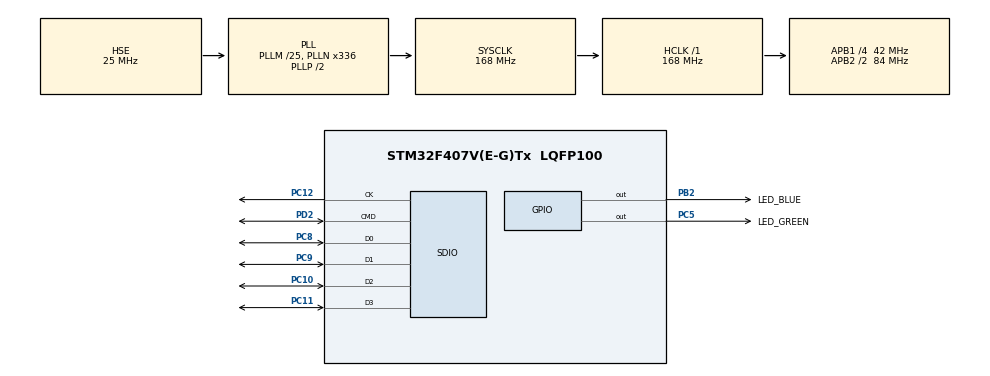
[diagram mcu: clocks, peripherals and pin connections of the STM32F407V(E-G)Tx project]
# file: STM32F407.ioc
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Dma.Request0=SDIO_RX
Dma.Request1=SDIO_TX
Dma.SDIO_RX.0.Direction=DMA_PERIPH_TO_MEMORY
Dma.SDIO_RX.0.FIFOMode=DMA_FIFOMODE_ENABLE
Dma.SDIO_RX.0.FIFOThreshold=DMA_FIFO_THRESHOLD_FULL
Dma.SDIO_RX.0.Instance=DMA2_Stream3
Dma.SDIO_RX.0.MemBurst=DMA_MBURST_INC4
Dma.SDIO_RX.0.MemDataAlignment=DMA_MDATAALIGN_WORD
Dma.SDIO_RX.0.MemInc=DMA_MINC_ENABLE
Dma.SDIO_RX.0.Mode=DMA_PFCTRL
Dma.SDIO_RX.0.PeriphBurst=DMA_PBURST_INC4
Dma.SDIO_RX.0.PeriphDataAlignment=DMA_PDATAALIGN_WORD
Dma.SDIO_RX.0.PeriphInc=DMA_PINC_DISABLE
Dma.SDIO_RX.0.Priority=DMA_PRIORITY_LOW
Dma.SDIO_TX.1.Direction=DMA_MEMORY_TO_PERIPH
Dma.SDIO_TX.1.FIFOMode=DMA_FIFOMODE_ENABLE
Dma.SDIO_TX.1.FIFOThreshold=DMA_FIFO_THRESHOLD_FULL
Dma.SDIO_TX.1.Instance=DMA2_Stream6
Dma.SDIO_TX.1.MemBurst=DMA_MBURST_INC4
Dma.SDIO_TX.1.MemDataAlignment=DMA_MDATAALIGN_WORD
Dma.SDIO_TX.1.MemInc=DMA_MINC_ENABLE
Dma.SDIO_TX.1.Mode=DMA_PFCTRL
Dma.SDIO_TX.1.PeriphBurst=DMA_PBURST_INC4
Dma.SDIO_TX.1.PeriphDataAlignment=DMA_PDATAALIGN_WORD
Dma.SDIO_TX.1.PeriphInc=DMA_PINC_DISABLE
Dma.SDIO_TX.1.Priority=DMA_PRIORITY_LOW
Mcu.Family=STM32F4
Mcu.Name=STM32F407V(E-G)Tx
Mcu.Package=LQFP100
NVIC.DMA2_Stream3_IRQn=true\:2\:0\:true\:false\:true\:false\:true\:true
NVIC.DMA2_Stream6_IRQn=true\:2\:0\:true\:false\:true\:false\:true\:true
NVIC.PriorityGroup=NVIC_PRIORITYGROUP_4
NVIC.SDIO_IRQn=true\:1\:0\:true\:false\:true\:true\:true\:true
PA13.Mode=Serial_Wire
PA13.Signal=SYS_JTMS-SWDIO
PA14.Mode=Serial_Wire
PA14.Signal=SYS_JTCK-SWCLK
PB2.GPIO_Label=LED_BLUE
PB2.Signal=GPIO_Output
PC10.Mode=SD_4_bits_Wide_bus
PC10.Signal=SDIO_D2
PC11.Mode=SD_4_bits_Wide_bus
PC11.Signal=SDIO_D3
PC12.Mode=SD_4_bits_Wide_bus
PC12.Signal=SDIO_CK
PC5.GPIO_Label=LED_GREEN
PC5.Signal=GPIO_Output
PC8.Mode=SD_4_bits_Wide_bus
PC8.Signal=SDIO_D0
PC9.Mode=SD_4_bits_Wide_bus
PC9.Signal=SDIO_D1
PD2.Mode=SD_4_bits_Wide_bus
PD2.Signal=SDIO_CMD
PH0-OSC_IN.Mode=HSE-External-Oscillator
PH0-OSC_IN.Signal=RCC_OSC_IN
PH1-OSC_OUT.Mode=HSE-External-Oscillator
PH1-OSC_OUT.Signal=RCC_OSC_OUT
ProjectManager.HeapSize=0x200
ProjectManager.StackSize=0x1000
ProjectManager.TargetToolchain=MDK-ARM V5.32
RCC.48MHZClocksFreq_Value=48000000
RCC.AHBFreq_Value=168000000
RCC.APB1CLKDivider=RCC_HCLK_DIV4
RCC.APB1Freq_Value=42000000
RCC.APB1TimFreq_Value=84000000
RCC.APB2CLKDivider=RCC_HCLK_DIV2
RCC.APB2Freq_Value=84000000
RCC.APB2TimFreq_Value=168000000
RCC.CortexFreq_Value=168000000
RCC.HCLKFreq_Value=168000000
RCC.HSE_VALUE=25000000
RCC.HSI_VALUE=16000000
RCC.LSE_VALUE=32768
RCC.PLLM=25
RCC.PLLN=336
RCC.PLLQ=7
RCC.PLLSourceVirtual=RCC_PLLSOURCE_HSE
RCC.SYSCLKFreq_VALUE=168000000
RCC.SYSCLKSource=RCC_SYSCLKSOURCE_PLLCLK
RCC.VCOOutputFreq_Value=336000000
SDIO.ClockDiv=2
board=custom

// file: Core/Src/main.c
/* USER CODE BEGIN Header */
/**==================================================================================================================
 ** 【代码编写】  魔女开发板团队
 ** 【淘    宝】  魔女开发板       https://demoboard.taobao.com
 **==================================================================================================================
 ** 【实验名称】   SD卡 DMA读写测试（无USB/文件系统）
 **
 ** 【适用平台】   STM32F407 + Keil5 + HAL库
 **
 ** 【功能概述】   本程序通过 DMA 方式实现对 SD 卡的基础块读写操作，验证 SDIO + DMA 数据传输性能。
 **                1. 初始化系统时钟、GPIO、SDIO、DMA 及串口
 **                2. 获取 SD 卡信息（类型、版本、容量等）并通过串口打印
 **                3. 使用 DMA 读取指定块区域的原数据，保存到缓冲区
 **                4. 使用 DMA 向指定块区域写入测试数据，并回读验证
 **                5. 擦除指定块区域，读取验证擦除效果
 **                6. 使用 DMA 恢复原数据，确保不破坏卡内原有内容
 **                7. 绿色 LED 周期性闪烁，指示系统运行状态
 **                8. 利用中断回调函数标志位同步 DMA 传输完成状态
 **
 ** 【硬件注意】   1. SD 卡消耗电流较大，建议使用独立电源或开发板主电源供电，避免使用 STLink、USB 转 TTL 等模块供电
 **                2. SDIO 通信占用 6 个引脚：PC8(CLK)、PC9(CMD)、PC10~12(D0~D3) 和 PD2(D4)，请确保这些引脚未被其他外设占用
 **                3. DMA 使用的数据流和通道需与 SDIO 外设匹配（CubeMX 自动配置）
 **
 ** 【CubeMX配置】 1. 在 Connectivity / SDIO 中选择 "SD 4 bits Wide bus"
 **                2. 在 DMA Settings 中添加 SDIO_TX 和 SDIO_RX，并选择合适的优先级
 **                3. 对于 F1 系列，需将 SDIOCLK clock divide factor 设置为 6
 **                4. 注意 CubeMX 代码生成 bug：sdio.c 中的 MX_SDIO_SD_Init() 函数中，hsd.Init.BusWide 会被设置为 SDIO_BUS_WIDE_4B，
 **                   必须手动修改为 SDIO_BUS_WIDE_1B，否则 SD 卡无法正常工作
 **
 ** 【移植说明】   1. 确保目标工程已正确配置 SDIO、DMA 及 GPIO
 **                2. 在 main.c 中包含 "bsp_UART.h" 以支持串口调试输出
 **                3. 若使用其他串口，请修改 UART1_Init() 对应的波特率和引脚
 **                4. 注意在 DMA 传输完成回调函数中正确设置标志位（见 USER CODE BEGIN 4）
 **
 ** 【测试流程】   本程序按顺序执行以下步骤，结果通过串口输出：
 **                1. 获取卡信息（类型、版本、块数量、块大小、容量）
 **                2. DMA 读取测试块（起始块 7，长度 2 块）的原数据并打印
 **                3. DMA 写入测试数据（0x88）到测试块，并回读验证
 **                4. 擦除测试块（块 7~8），回读验证擦除后数据为 0x00
 **                5. DMA 将原数据写回测试块，回读验证恢复成功
 **
 ** 【DMA标志】    程序使用两个 volatile 标志变量：
 **                myFlagSDReadReady  — 读取传输完成标志，在 HAL_SD_RxCpltCallback 中置 1
 **                myFlagSDWriteReady — 写入传输完成标志，在 HAL_SD_TxCpltCallback 中置 1
 **                在主循环中通过 while 等待标志置位，确保传输完成后再进行下一步。
 **                使用 volatile 修饰可避免编译器优化导致标志检测失效。
 **
 ** 【调试建议】   1. 测试前请备份 SD 卡重要数据，程序会修改块 7 和块 8 的内容
 **                2. 若通信失败，检查 SDIO 引脚连接及供电是否充足
 **                3. 使用串口助手观察输出，确认每一步执行结果
 **                4. 注意 CubeMX 生成的 SDIO 初始化代码中的总线宽度错误，必须手动修正
 **                5. 若 DMA 传输卡死，检查中断优先级及 DMA 回调函数是否正确配置
 **
 ** 【更新记录】   2024-02-19  优化代码结构，增加 DMA 传输完成标志及详细注释
 **                2024-02-17  从标准库迁移至 HAL 库，增加 DMA 版本
 **
 ** 【备注说明】   版权归魔女科技所有，仅供学习使用，请勿用于商业用途。
 **                https://demoboard.taobao.com
 **
==================================================================================================================**/
/* USER CODE END Header */
#include "main.h"
#include "dma.h"
#include "sdio.h"
#include "gpio.h"

/* USER CODE BEGIN Includes */
#include "bsp_UART.h"           // 串口通信底层文件

/* USER CODE END Includes */

void SystemClock_Config(void);

/* USER CODE BEGIN 0 */

volatile uint8_t myFlagSDReadReady = 0;    // 读取传输完成标志; 重要：CubeMX生成的Keil工程，编译优化等级默认是3，如果变量没有标记为易变的（volatile），编译器可能会认为其值在循环中不会改变，从而导致优化后的代码无法正确检测到变量值的变化，特别是在空循环体中。
volatile uint8_t myFlagSDWriteReady = 0;   // 写入传输完成标志; 重要：CubeMX生成的Keil工程，编译优化等级默认是3，如果变量没有标记为易变的（volatile），编译器可能会认为其值在循环中不会改变，从而导致优化后的代码无法正确检测到变量值的变化，特别是在空循环体中。

/* USER CODE END 0 */

int main(void)
{

    /* USER CODE BEGIN 1 */

    /* 说明：
     * 1. 不要删除CubeMX生成的注释行（形如 USER CODE BEGIN/END），这些注释用于代码重新生成时的定位
     * 2. 所有用户自定义代码必须写在对应的BEGIN与END注释行之间，否则重新生成时会被覆盖
     * 3. 主要初始化函数说明：
     *    - HAL_Init()            初始化HAL库，配置中断优先级、系统时基等
     *    - SystemClock_Config()  配置系统时钟
     *    - MX_GPIO_Init()        初始化GPIO引脚（仅包含推挽输出、中断触发等配置）
     *    - 外设功能引脚（如UART、SPI等）的初始化在各自的功能文件中
     */

    /* USER CODE END 1 */

    /* MCU Configuration--------------------------------------------------------*/

    /* Reset of all peripherals, Initializes the Flash interface and the Systick. */
    HAL_Init();

    /* Configure the system clock */
    SystemClock_Config();

    /* Initialize all configured peripherals */
    MX_GPIO_Init();
    MX_DMA_Init();
    MX_SDIO_SD_Init();
    /* USER CODE BEGIN 2 */
    // 所用用户代码，必须写在配对的BEGIN与END注释之间，否则重新生成时会被自动删除

    UART1_Init(115200);

    /***************** SD卡读写通信测试 *****************/
    /* 1、获取卡信息，打印到串口助手                    */
    /* 2、读测试：读出测试位置原数据，保存在 aOldData[] */
    /* 3、写测试：在测试的块上，写入指定数据            */
    /*    读出刚才写入的块数据，打印到串口助手观察      */
    /* 4、擦除测试：擦除指定块上的数据                  */
    /*    读出刚才擦除块的数据，打印到串口助手观察      */
    /* 5、写回原数据到指定位置                          */
    /*    读出刚才写入的块数据，打印到串口助手观察      */

#define SD_TEST_SIZE    1024                                       // 测试数据的字节数，刚好是2个块大小：2x512
    static uint8_t aOldData[SD_TEST_SIZE] = {0};                       // 用于存放旧数据，先读出来，测试完了，再把旧数据写回去
    static uint8_t aTestData[SD_TEST_SIZE] = {0};                      // 临时缓存，用来存放测试数据
    HAL_SD_CardInfoTypeDef pCardInfo = {0};                            // SD卡信息结构体

    uint8_t status = HAL_SD_GetCardState(&hsd);                        // SD卡状态标志值
    if (status == HAL_SD_CARD_TRANSFER)
    {
        /* 1、获取卡信息，打印到串口助手 */
        HAL_SD_GetCardInfo(&hsd, &pCardInfo);                          // 获取 SD 卡的信息
        printf("\r1、获取SD卡信息 ... \r\n");
        printf("卡类型：%d \r\n", pCardInfo.CardType);                 // 类型返回：0-SDSC、1-SDHC/SDXC、3-SECURED
        printf("卡版本：%d \r\n", pCardInfo.CardVersion);              // 版本返回：0-CARD_V1、1-CARD_V2
        printf("块数量：%d \r\n", pCardInfo.BlockNbr);                 // 可用的块数量
        printf("块大小：%d \r\n", pCardInfo.BlockSize);                // 每个块的大小; 单位：字节
        printf("卡容量：%lluG \r\n", ((unsigned long long)pCardInfo.BlockSize * pCardInfo.BlockNbr) / 1024 / 1024 / 1024);  // 计算卡的容量

        HAL_Delay(1000);                                               // 重要：稍作延时再开始读写测试; 避免有些仿真器烧录期间的多次复位，短暂运行了程序，导致下列读写数据不完整。

        /* 2、读测试：读出测试位置原数据，保存在 aOldData[] */
        printf("\r2、读取测试块的原数据 ... \r\n");
        memset(aOldData, 0, SD_TEST_SIZE);                             // 清0数组的数据
        myFlagSDReadReady = 0;                                         // 读取传输完成标志。当DMA传输结束后，在DMA中断回调函数里(已写在main.c底部), 把这个变量赋值1.
        HAL_SD_ReadBlocks_DMA(&hsd, aOldData, 7, 2);                   // 读取SD卡指定块的数据; 参数：SD句柄、数据地址、块起始地址、需要读取的块数量;
        while (myFlagSDReadReady == 0);                                // 等待传输完成; 重要：CubeMX生成的Keil工程，编译优化等级默认是3，如果变量没有标记为易变的（volatile），编译器可能会认为其值在循环中不会改变，从而导致优化后的代码无法正确检测到变量值的变化，特别是在空循环体中。
        for (uint32_t i = 0; i < SD_TEST_SIZE; i++)                    // 打印 原始数据
            printf("%X ",  aOldData[i]);
        printf("\r\n");

        /* 3-1、写测试：在测试的块上写入数据 */
        printf("\r3、SD卡 写入测试 ...\r\n");
        memset(aTestData, 0x8, SD_TEST_SIZE);                          // 整个数组填充指定值，作为测试写入的数据
        myFlagSDWriteReady = 0;                                        // 写入传输完成标志。当DMA传输结束后，在DMA中断回调函数里(已写在main.c底部), 把这个变量赋值1.
        HAL_SD_WriteBlocks_DMA(&hsd, aTestData, 7, 2);                 // 向指定块写入数据; 参数：SD句柄、数据地址、块起始地址、需要写入的块数量;
        while (myFlagSDWriteReady == 0);                               // 等待传输完成; 重要：CubeMX生成的Keil工程，编译优化等级默认是3，如果变量没有标记为易变的（volatile），编译器可能会认为其值在循环中不会改变，从而导致优化后的代码无法正确检测到变量值的变化，特别是在空循环体中。
        printf("对指定块写入结束! \r写入的数据是：\n");
        for (uint32_t i = 0; i < SD_TEST_SIZE; i++)                    // 打印 写入的数据
            printf("%X ",  aTestData[i]);
        printf("\r\n");
        /* 3-2、读出现在块内的数据 */
        printf("\r现在块内的数据是：\r\n");
        memset(aTestData, 0, SD_TEST_SIZE);                            // 清0数组的数据
        myFlagSDReadReady = 0;                                         // 读取传输完成标志。当DMA传输结束后，在DMA中断回调函数里(已写在main.c底部), 把这个变量赋值1.
        HAL_SD_ReadBlocks_DMA(&hsd, aTestData, 7, 2);                  // 读SD卡数据块; 参数：SD句柄、数据地址、块起始地址、读的块数量;
        while (myFlagSDReadReady == 0);                                // 等待传输完成; 重要：CubeMX生成的Keil工程，编译优化等级默认是3，如果变量没有标记为易变的（volatile），编译器可能会认为其值在循环中不会改变，从而导致优化后的代码无法正确检测到变量值的变化，特别是在空循环体中。
        for (uint32_t i = 0; i < SD_TEST_SIZE; i++)                    // 打印 写入后块内现在数据
            printf("%X ",  aTestData[i]);
        printf("\r\n");

        /* 4-1、擦除测试：擦除指定块上的数据  */
        printf("\r4、擦除块测试 ...\r\n");
        if (HAL_SD_Erase(&hsd, 7, 8) == HAL_OK)                        // 擦除SD卡上的数据; 参数：SD结构体、块的起始地址、块的结束地址
        {
            while (HAL_SD_GetCardState(&hsd) != HAL_SD_CARD_TRANSFER); // 等待卡的读写操作结束
            printf("擦除 成功！ \r\n");
        }
        else
        {
            printf("擦除 失败！ \r\n");
        }
        /* 4-2、读取，擦除后指定块上的数据  */
        printf("擦除后，现在块内的数据是：\r\n");
        memset(aTestData, 0, SD_TEST_SIZE);                            // 清0数组的数据
        myFlagSDReadReady = 0;                                         // 读取传输完成标志。当DMA传输结束后，在DMA中断回调函数里(已写在main.c底部), 把这个值赋值1.
        HAL_SD_ReadBlocks_DMA(&hsd, aTestData, 7, 2);                  // 读SD卡数据块; 参数：SD句柄、数据地址、块起始地址、读的块数量;
        while (myFlagSDReadReady == 0);                                // 等待传输完成; 重要：CubeMX生成的Keil工程，编译优化等级默认是3，如果变量没有标记为易变的（volatile），编译器可能会认为其值在循环中不会改变，从而导致优化后的代码无法正确检测到变量值的变化，特别是在空循环体中。
        for (uint32_t i = 0; i < SD_TEST_SIZE; i++)                    // 打印 块内现在的数据
            printf("%X ",  aTestData[i]);
        printf("\r\n");

        /* 5-1、写回测试块上的原始数据 */
        printf("\r5、写回原数据 ...\r\n");
        //memset(aOldData, 0, SD_TEST_SIZE);                           // 这行是备用的，为了测试后写入特定数据
        myFlagSDWriteReady = 0;                                        // 写入传输完成标志。当DMA传输结束后，在DMA中断回调函数里(已写在main.c底部), 把这个变量赋值1.
        HAL_SD_WriteBlocks_DMA(&hsd, aOldData, 7, 2);                  // 向指定块写入数据; 参数：SD句柄、数据地址、块起始地址、需要写入的块数量;
        while (myFlagSDWriteReady == 0);                               // 等待传输完成; 重要：CubeMX生成的Keil工程，编译优化等级默认是3，如果变量没有标记为易变的（volatile），编译器可能会认为其值在循环中不会改变，从而导致优化后的代码无法正确检测到变量值的变化，特别是在空循环体中。
        printf("写入结束! \n");
        /* 5-2、读取现在块内的数据 */
        printf("现在块内的数据是: \r\n");
        memset(aTestData, 0, SD_TEST_SIZE);                            // 清0数组的数据
        myFlagSDReadReady = 0;                                         // 读取传输完成标志。当DMA传输结束后，在DMA中断回调函数里(已写在main.c底部), 把这个值赋值1.
        HAL_SD_ReadBlocks_DMA(&hsd, aTestData, 7, 2);                  // 读SD卡数据块; 参数：SD句柄、数据地址、块起始地址、读的块数量;
        while (myFlagSDReadReady == 0);                                // 等待传输完成; 重要：CubeMX生成的Keil工程，编译优化等级默认是3，如果变量没有标记为易变的（volatile），编译器可能会认为其值在循环中不会改变，从而导致优化后的代码无法正确检测到变量值的变化，特别是在空循环体中。
        for (uint32_t i = 0; i < SD_TEST_SIZE; i++)                    // 打印 块内现在的数据
            printf("%X ",  aTestData[i]);
        printf("\r\n\r\n");

        printf("SD卡 读写测试结束！\r\n");
    }

    /* USER CODE END 2 */

    /* Infinite loop */
    /* USER CODE BEGIN WHILE */
    while (1)
    {

        /** 每500ms执行一次的任务 **/
        static uint32_t lastTime_500ms = 0;                    // 定义静态变量，用于记录上次执行这个任务的时间点(单位：毫秒)
        if (HAL_GetTick() - lastTime_500ms >= 500)             // 检查当前时间距离上次执行是否已经过了500ms; HAL_GetTick()是获取启动后经过的毫秒数;
        {
            HAL_GPIO_TogglePin(GPIOC, GPIO_PIN_5);             // 控制绿色LED引脚电平翻转(PC5); 规律地闪烁LED，方便外部观察系统是否正常运行
            lastTime_500ms =   HAL_GetTick();                  // 记录当前时间，作为新的基准点，为下一次判断做准备
        }
        /* USER CODE END WHILE */

    }
}

void SystemClock_Config(void)
{
    RCC_OscInitTypeDef RCC_OscInitStruct = {0};
    RCC_ClkInitTypeDef RCC_ClkInitStruct = {0};

    /** Configure the main internal regulator output voltage
    */
    __HAL_RCC_PWR_CLK_ENABLE();
    __HAL_PWR_VOLTAGESCALING_CONFIG(PWR_REGULATOR_VOLTAGE_SCALE1);

    /** Initializes the RCC Oscillators according to the specified parameters
    * in the RCC_OscInitTypeDef structure.
    */
    RCC_OscInitStruct.OscillatorType = RCC_OSCILLATORTYPE_HSE;
    RCC_OscInitStruct.HSEState = RCC_HSE_ON;
    RCC_OscInitStruct.PLL.PLLState = RCC_PLL_ON;
    RCC_OscInitStruct.PLL.PLLSource = RCC_PLLSOURCE_HSE;
    RCC_OscInitStruct.PLL.PLLM = 25;
    RCC_OscInitStruct.PLL.PLLN = 336;
    RCC_OscInitStruct.PLL.PLLP = RCC_PLLP_DIV2;
    RCC_OscInitStruct.PLL.PLLQ = 7;
    if (HAL_RCC_OscConfig(&RCC_OscInitStruct) != HAL_OK)
    {
        Error_Handler();
    }

    /** Initializes the CPU, AHB and APB buses clocks
    */
    RCC_ClkInitStruct.ClockType = RCC_CLOCKTYPE_HCLK | RCC_CLOCKTYPE_SYSCLK
                                  | RCC_CLOCKTYPE_PCLK1 | RCC_CLOCKTYPE_PCLK2;
    RCC_ClkInitStruct.SYSCLKSource = RCC_SYSCLKSOURCE_PLLCLK;
    RCC_ClkInitStruct.AHBCLKDivider = RCC_SYSCLK_DIV1;
    RCC_ClkInitStruct.APB1CLKDivider = RCC_HCLK_DIV4;
    RCC_ClkInitStruct.APB2CLKDivider = RCC_HCLK_DIV2;

    if (HAL_RCC_ClockConfig(&RCC_ClkInitStruct, FLASH_LATENCY_5) != HAL_OK)
    {
        Error_Handler();
    }
}

/* USER CODE BEGIN 4 */

/*DMA Tx传输完成中断回调函数*/
void HAL_SD_TxCpltCallback(SD_HandleTypeDef *hsd)
{
    myFlagSDWriteReady = 1;   // 写入传输完成标志; 重要：CubeMX生成的Keil工程，编译优化等级默认是3，如果变量没有标记为易变的（volatile），编译器可能会认为其值在循环中不会改变，从而导致优化后的代码无法正确检测到变量值的变化，特别是在空循环体中。
}

/*DMA Rx传输完成中断回调函数*/
void HAL_SD_RxCpltCallback(SD_HandleTypeDef *hsd)
{
    myFlagSDReadReady = 1;    // 读取传输完成标志; 重要：CubeMX生成的Keil工程，编译优化等级默认是3，如果变量没有标记为易变的（volatile），编译器可能会认为其值在循环中不会改变，从而导致优化后的代码无法正确检测到变量值的变化，特别是在空循环体中。
}

/* USER CODE END 4 */

void Error_Handler(void)
{
    __disable_irq();
    while (1)
    {
    }
}
